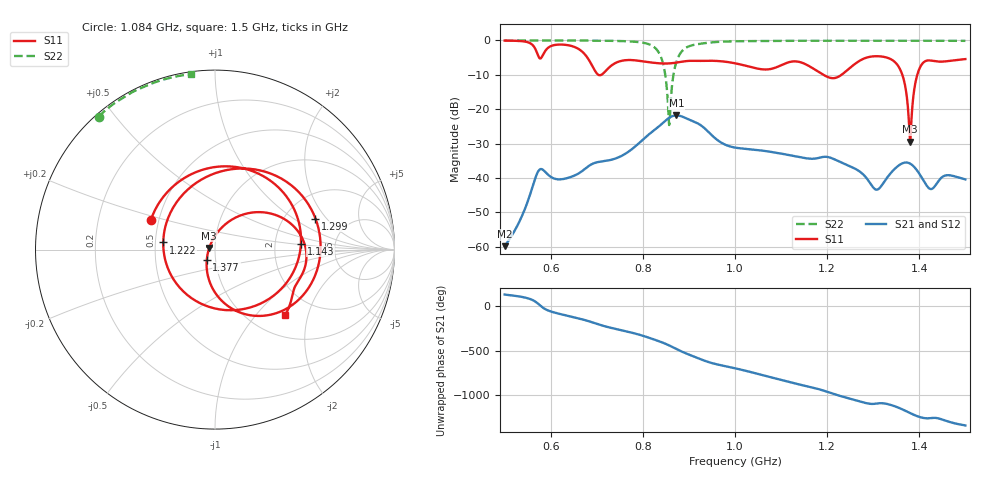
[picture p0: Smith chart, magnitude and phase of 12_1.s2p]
! TOUCHSTONE file generated by CST MICROWAVE STUDIO
! Date and time: Sat Nov 14 20:35:44 2020
! Project name: Scenario_1_Planar_Body_Tissue_Out_of_Line_v2.cst
! Parameters = {dy1=155.7; L_HA=400; Ltissue=700; MT=2.54; Rad_Dielectric=30; Rad_Lower=7.3; Rad_Upper=30; Wtissue=700; a_HA=580; a_WG=246; b_HA=500; b_WG=121; c_HA=0; c_WG=187; d_feed=85; dx1=173; h_feed=15; h_lower=18; h_upper=40; hfat=3; hgap=25; hmuscle=50; hskin=1.5}
! Header version: 2018
! Port assignment regex: !\s*Touchstone port\s*([0-9]+)\s*=\s*(CST MWS port|CST DS port)\s*([0-9]+|Zmin|Zmax)\s*\(\"(.*)\"\)(\s*mode\s*([0-9]+))?.*
! Touchstone port assignment:
! Touchstone port 1 = CST MWS port 1 ("")
! Touchstone port 2 = CST MWS port 2 ("")
# GHz S DB R 50
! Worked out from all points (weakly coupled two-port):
!   1003 points, 500 MHz to 1.5 GHz, reference 50 ohm
!   highest |S21| = -21.83 dB at 873 MHz (marker M1); lowest = -59.9 dB at 500 MHz (marker M2)
!   lowest |S11| = -29.5 dB at 1.38 GHz (marker M3), VSWR 1.07, Z = 46.9 + j0.891 ohm
!   |S11| at or under -10 dB: 703.5 MHz to 710 MHz (6.512 MHz wide, 0.921 % of centre); 1.192 GHz to 1.231 GHz (39.44 MHz wide, 3.26 % of centre); 1.363 GHz to 1.396 GHz (32.46 MHz wide, 2.35 % of centre)
!   |S22| runs from -24.6 to 0.0 dB; largest |S21 - S12| = 2.8e-06
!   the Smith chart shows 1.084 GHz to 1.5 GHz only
!   S11 on the Smith chart (normalised r, x): 1.084 GHz: 0.45, +0.18; 1.143 GHz: 2.82, +0.24; 1.222 GHz: 0.55, +0.05; 1.299 GHz: 2.94, +1.55; 1.377 GHz: 0.91, -0.10; 1.5 GHz: 1.42, -1.45
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0.5  -0.05 -121.7  -59.88 127.9  -59.88 127.9  -0.01 151.1
0.575  -5.02 -163.3  -37.70 14.6  -37.70 14.6  -0.02 146.0
0.667  -3.11 110.9  -38.14 -147.5  -38.14 -147.5  -0.05 138.4
0.694  -8.33 24.8  -35.73 170.0  -35.73 170.0  -0.06 135.5
0.72  -8.78 -99.7  -35.04 129.6  -35.04 129.6  -0.10 132.3
0.762  -5.75 162.5  -32.98 78.5  -32.98 78.5  -0.22 125.0
0.834  -6.64 23.5  -25.12 -32.6  -25.12 -32.6  -3.38 82.6
0.857  -6.69 -35.0  -22.53 -81.1  -22.53 -81.1  -24.62 -34.3
0.873  -6.45 -79.4  -21.83 -121.8  -21.83 -121.8  -6.18 -160.9
0.906  -5.93 -174.8  -23.35 164.2  -23.35 164.2  -1.44 163.4
0.941  -5.91 95.9  -26.46 95.2  -26.46 95.2  -0.68 151.2
1  -6.65 -25.1  -31.18 23.2  -31.18 23.2  -0.24 140.1
1.084  -8.09 154.9  -32.57 -85.7  -32.57 -85.7  -0.14 131.2
1.143  -6.38 4.0  -34.03 -162.6  -34.03 -162.6  -0.10 126.1
1.167  -7.95 -46.2  -34.44 168.2  -34.44 168.2  -0.09 124.1
1.222  -10.72 172.1  -34.97 82.8  -34.97 82.8  -0.09 120.0
1.299  -4.64 17.1  -42.63 -15.7  -42.63 -15.7  -0.09 114.1
1.334  -5.20 -28.5  -39.26 -21.1  -39.26 -21.1  -0.09 111.5
1.377  -22.75 -129.0  -35.66 -110.4  -35.66 -110.4  -0.09 108.2
1.38  -29.50 163.5  -35.85 -117.9  -35.85 -117.9  -0.09 107.9
1.408  -6.54 13.1  -40.53 -171.6  -40.53 -171.6  -0.09 105.7
1.5  -5.43 -43.1  -40.45 103.5  -40.45 103.5  -0.13 97.8
